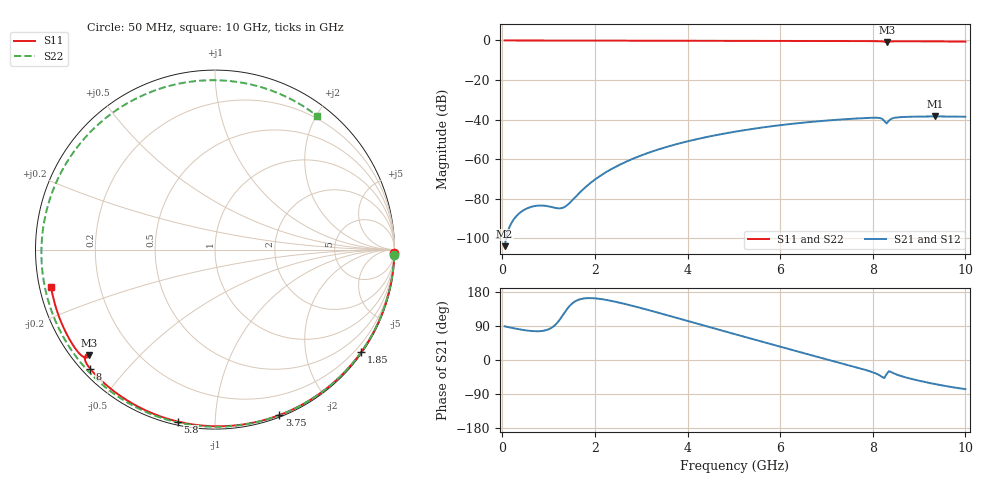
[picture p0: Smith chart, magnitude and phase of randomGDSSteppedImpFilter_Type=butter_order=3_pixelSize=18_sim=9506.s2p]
! freq	dB(S11)	phase(S11)	dB(S12)	phase(S12)
!  dB(S21)	phase(S21)	dB(S22)	phase(S22)
!S-par simulation data
#  GHz  S  DB  R 50
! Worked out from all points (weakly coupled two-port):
!   200 points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, 50 MHz to 10 GHz, reference 50 ohm
!   highest |S21| = -38.45 dB at 9.35 GHz (marker M1); lowest = -104.1 dB at 50 MHz (marker M2)
!   lowest |S11| = -0.8 dB at 8.3 GHz (marker M3), VSWR 23.11, Z = 2.45 - j18.1 ohm
!   |S11| at or under -10 dB: nowhere
!   |S22| runs from -0.6 to 0.0 dB; largest |S21 - S12| = 0
!   S11 on the Smith chart (normalised r, x): 50 MHz: open; 1.85 GHz: 0.03, -3.18; 3.75 GHz: 0.02, -1.46; 5.8 GHz: 0.02, -0.81; 8 GHz: 0.02, -0.40; 10 GHz: 0.03, -0.11
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0.05  -0.00 -1.0  -104.08 88.9  -104.08 88.9  -0.00 -1.7
0.75  -0.02 -14.3  -83.61 75.8  -83.61 75.8  -0.03 -24.8
1.55  -0.04 -29.4  -79.93 152.9  -79.93 152.9  -0.06 -50.6
1.75  -0.04 -33.1  -75.22 162.2  -75.22 162.2  -0.07 -56.9
1.85  -0.04 -35.0  -73.15 163.3  -73.15 163.3  -0.08 -60.0
2.15  -0.05 -40.5  -67.97 160.5  -67.97 160.5  -0.09 -69.2
2.5  -0.06 -46.8  -63.29 152.1  -63.29 152.1  -0.10 -79.8
3.4  -0.08 -62.7  -54.93 123.6  -54.93 123.6  -0.14 -106.0
3.75  -0.09 -68.7  -52.55 111.7  -52.55 111.7  -0.15 -115.9
4.4  -0.11 -79.6  -48.93 89.4  -48.93 89.4  -0.18 -134.0
5.05  -0.14 -90.3  -46.07 67.3  -46.07 67.3  -0.22 -151.8
5.8  -0.17 -102.2  -43.45 41.9  -43.45 41.9  -0.27 -172.6
6.7  -0.23 -116.1  -41.14 11.8  -41.14 11.8  -0.34 161.7
7.35  -0.27 -126.1  -39.93 -9.5  -39.93 -9.5  -0.39 142.2
8  -0.34 -136.3  -39.11 -32.4  -39.11 -32.4  -0.44 121.6
8.2  -0.48 -140.1  -39.60 -44.6  -39.60 -44.6  -0.46 115.0
8.3  -0.75 -140.1  -41.98 -36.8  -41.98 -36.8  -0.46 111.8
8.35  -0.60 -139.8  -40.55 -29.6  -40.55 -29.6  -0.47 110.1
8.55  -0.42 -143.5  -38.89 -39.9  -38.89 -39.9  -0.48 103.4
8.95  -0.43 -150.0  -38.52 -53.3  -38.52 -53.3  -0.50 89.6
9.35  -0.48 -156.4  -38.45 -63.7  -38.45 -63.7  -0.53 75.6
10  -0.57 -167.0  -38.60 -76.9  -38.60 -76.9  -0.57 52.5
